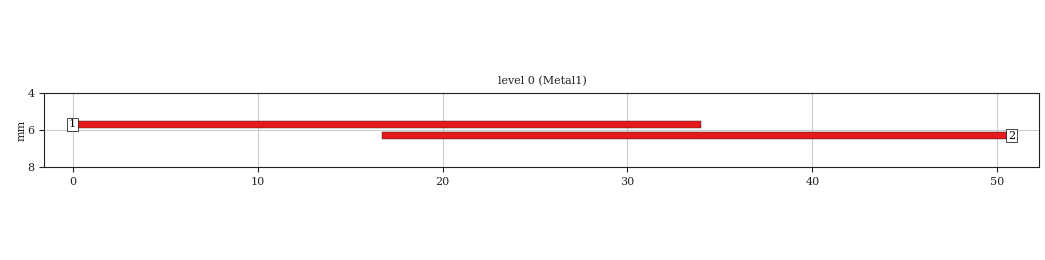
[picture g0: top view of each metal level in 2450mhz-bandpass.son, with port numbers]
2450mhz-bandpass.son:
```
FTYP SONPROJ 17 ! Sonnet Project File
VER 17.52.2
HEADER
LIC antikernel2.1.48685 90e2ba8817c0 havequick azonenberg
DAT 04/01/2020 00:23:55
BUILT_BY_CREATED xgeom 16.56 07/03/2018 15:05:41
BUILT_BY_SAVED sonnet 17.52.2
MDATE 04/01/2020 00:22:44
HDATE 04/01/2020 00:22:44
END HEADER
DIM
ANG DEG
CAP PF
CON /OH
FREQ GHZ
IND NH
LNG MM
RES OH
END DIM
CONTROL
VARSWP
OPTIONS  -dj
SPEED 1
CACHE_ABS 1
Q_ACC N
END CONTROL
GEO
TMET "Free Space" 0 FREESPACE 376.7303136 0 0 0
BMET "Copper 0.5oz" 2 NOR 58000000 0.5 0.017 
MET "Copper 1oz" 1 NOR 58000000 0.5 0.035 
BRI "Arlon AD450" 0 4.5 0.0035 0 
BRI "Arlon AD600" 0 6.15 0.003 0 
BRI "Arlon AD1000" 0 10.2 0.0023 0 
BRI "Arlon AR1000" 0 9.8 0.003 0 
BRI "Arlon CLTE" 0 2.96 0.0023 0 
BRI "Arlon CLTE-AT" 0 3 0.0013 0 
BRI "Arlon CLTE-P" 0 2.94 0.0025 0 
BRI "Arlon CLTE-XT" 0 2.94 0.0012 0 
BRI "Arlon Cu 217LX" 0 2.17 0.0009 0 
BRI "Arlon Cu 233LX" 0 2.33 0.0013 0 
BRI "Arlon Cu 250GT" 0 2.5 0.001 0 
BRI "Arlon Cu 250GX" 0 2.5 0.0018 0 
BRI "Arlon Cu 6250" 0 2.32 0.0013 0 
BRI "Arlon Cu 6700" 0 2.35 0.0025 0 
BRI "Arlon Di 522" 0 2.5 0.001 0 
BRI "Arlon Di 527" 0 2.5 0.0018 0 
BRI "Arlon Di 870" 0 2.33 0.0013 0 
BRI "Arlon Di 880" 0 2.17 0.0009 0 
BRI "Arlon Iso 917" 0 2.17 0.0013 0 
BRI "Arlon Iso 933" 0 2.33 0.0016 0 
BRI "Arlon Multi HF" 0 3.7 0.004 0 
BRI "Arlon TC350" 0 3.5 0.002 0 
BRI "Arlon TC600" 0 6.15 0.002 0 
BRI "Beryllia (99.5%)" 0 6.5 0.0004 0 
BRI "CEM-1" 0 4.5 0.02 0 
BRI "CEM-3" 0 4.5 0.02 0 
BRI "Dupont 9K7" 0 7.1 0.0012 0 
BRI "Dupont 943" 0 7.4 0.002 0 
BRI "Dupont 951" 0 7.8 0.006 0 
BRI "Dupont FEP" 0 2 0.0005 0 
BRI "Dupont Vacrel" 0 3.8 0.011 0 
BRI "ESL 41010" 0 7.5 0.005 0 
BRI "ESL 41020" 0 7.25 0.005 0 
BRI "ESL 41050" 0 13.5 0.002 0 
BRI "ESL 41060" 0 16.5 0.002 0 
BRI "ESL 41110" 0 4.5 0.004 0 
BRI "Ferro A6M" 0 5.9 0.002 0 
BRI "Ferro A6S" 0 5.9 0.002 0 
BRI "Ferro L8" 0 7.3 0.0018 0 
BRI "FR-4" 0 4.4 0.02 0 
BRI "G-10" 0 4.8 0.025 0 
BRI "Gallium Arsenide" 0 12.9 0.006 0 
BRI "Gallium Nitride" 0 9.7 0 0 
BRI "Glass (Pyrex)" 0 4.82 0.0054 0 
BRI "Heraeus HL2000" 0 7.3 0.0026 0 
BRI "Isola 370HR" 0 4.04 0.021 0 
BRI "Isola FR408" 0 3.77 0.0116 0 
BRI "Isola FR408HR" 0 3.68 0.0092 0 
BRI "Isola Getek" 0 3.6 0.01 0 
BRI "Isola GI-180" 0 3.7 0.013 0 
BRI "Isola IS415" 0 3.82 0.0125 0 
BRI "Isola IS620i" 0 3.58 0.006 0 
BRI "Isola IS680-280" 0 2.8 0.0025 0 
BRI "Isola IS680-300" 0 3 0.003 0 
BRI "Isola IS680-320" 0 3.2 0.003 0 
BRI "Isola IS680-333" 0 3.33 0.003 0 
BRI "Isola IS680-338" 0 3.38 0.0032 0 
BRI "Isola IS680-345" 0 3.45 0.0036 0 
BRI "Kerafol CT800" 0 5.3 0.008 0 
BRI "Nelco MW9350" 0 3.7 0.004 0 
BRI "Nelco N4000-12" 0 3.7 0.008 0 
BRI "Nelco N4000-13" 0 3.7 0.009 0 
BRI "Nelco N4000-13SI" 0 3.2 0.007 0 
BRI "Nelco N4000-13EP" 0 3.7 0.008 0 
BRI "Nelco N4350-13RF" 0 3.5 0.0065 0 
BRI "Nelco N4380-13RF" 0 3.8 0.007 0 
BRI "Nelco N9300-13RF" 0 3 0.004 0 
BRI "Nelco N9320-13RF" 0 3.2 0.0045 0 
BRI "Nelco N9338-13RF" 0 3.38 0.0046 0 
BRI "Nelco N9350-13RF" 0 3.48 0.0055 0 
BRI "Nelco NH9294" 0 2.94 0.0022 0 
BRI "Nelco NH9300" 0 3 0.0023 0 
BRI "Nelco NH9320" 0 3.2 0.0024 0 
BRI "Nelco NH9338" 0 3.38 0.0025 0 
BRI "Nelco NH9348" 0 3.48 0.003 0 
BRI "Nelco NH9350" 0 3.5 0.003 0 
BRI "Nelco NH9410" 0 4.1 0.003 0 
BRI "Nelco NH9450" 0 4.5 0.003 0 
BRI "Nelco NX9240" 0 2.4 0.0016 0 
BRI "Nelco NX9245" 0 2.45 0.0016 0 
BRI "Nelco NX9250" 0 2.5 0.0017 0 
BRI "Nelco NX9255" 0 2.55 0.0018 0 
BRI "Nelco NX9260" 0 2.6 0.0019 0 
BRI "Nelco NY9208" 0 2.08 0.0006 0 
BRI "Nelco NY9217" 0 2.17 0.0008 0 
BRI "Nelco NY9220" 0 2.2 0.0009 0 
BRI "Nelco NY9233" 0 2.33 0.0011 0 
BRI "PET" 0 3.37 0.0208 0 
BRI "Polyimide" 0 3.5 0.003 0 
BRI "Quartz (Fused)" 0 3.78 0.0001 0 
BRI "Rogers 3001" 0 2.28 0.003 0 
BRI "Rogers RO2808" 0 7.6 0.0015 0 
BRI "Rogers RO3003" 0 3 0.0013 0 
BRI "Rogers RO3006" 0 6.5 0.002 0 
BRI "Rogers RO3010" 0 11.2 0.0022 0 
BRI "Rogers RO3035" 0 3.6 0.0018 0 
BRI "Rogers RO3203" 0 3.02 0.0016 0 
BRI "Rogers RO3206" 0 6.6 0.0027 0 
BRI "Rogers RO3210" 0 10.8 0.0027 0 
BRI "Rogers RO3730" 0 3 0.0016 0 
BRI "Rogers RO4003C" 0 3.55 0.0029 0 
BRI "Rogers RO4533" 0 3.45 0.0029 0 
BRI "Rogers RO4534" 0 3.4 0.003 0 
BRI "Rogers RO4350B" 0 3.66 0.0037 0 
BRI "Rogers RO4350BTX" 0 3.66 0.0034 0 
BRI "Rogers RO4360" 0 6.15 0.0038 0 
BRI "Rogers RO4450B-3.6" 0 3.3 0.0043 0 
BRI "Rogers RO4450B-4" 0 3.54 0.004 0 
BRI "Rogers RO4450F" 0 3.52 0.0041 0 
BRI "Rogers RO4730" 0 3 0.0033 0 
BRI "Rogers RT5870" 0 2.33 0.0012 0 
BRI "Rogers RT5880" 0 2.2 0.0009 0 
BRI "Rogers RT5880LZ" 0 1.96 0.0019 0 
BRI "Rogers RT6002" 0 2.94 0.0012 0 
BRI "Rogers RT6006" 0 6.15 0.0027 0 
BRI "Rogers RT6010LM" 0 10.9 0.0023 0 
BRI "Rogers RT6035HTC" 0 3.6 0.0013 0 
BRI "Rogers RT6202" 0 2.94 0.0015 0 
BRI "Rogers RT6202PR" 0 2.95 0.0015 0 
BRI "Rogers Syron7000" 0 3.4 0.0045 0 
BRI "Rogers Syron7100-2" 0 3.61 0.006 0 
BRI "Rogers Syron7100-4" 0 3.39 0.005 0 
BRI "Rogers Theta" 0 4.01 0.0118 0 
BRI "Rogers TMM 3" 0 3.39 0.002 0 
BRI "Rogers TMM 4" 0 4.5 0.002 0 
BRI "Rogers TMM 6" 0 6 0.0023 0 
BRI "Rogers TMM 10" 0 9.56 0.0022 0 
BRI "Rogers TMM 10i" 0 9.96 0.002 0 
BRI "Rogers UL2000" 0 2.5 0.0019 0 
BRI "Rogers UL3850" 0 3.05 0.0025 0 
BRI "Rogers UL3908" 0 2.9 0.0025 0 
BRI "Rogers XT8000" 0 3.34 0.0035 0 
BRI "Rogers XT8100-2" 0 3.54 0.0049 0 
BRI "Rogers XT8100-4" 0 3.32 0.0038 0 
BRI "Silicon (intrinsic)" 0 11.9 0.004 0.00044 
BRI "Silicon Dioxide" 0 3.9 0 0 
BRI "Silicon Nitride" 0 7.5 0 0 
BRI "Taconic CER-10" 0 10 0.0035 0 
BRI "Taconic FastFilm" 0 2.7 0.0012 0 
BRI "Taconic Fastrise-DS" 0 2.96 0.0018 0 
BRI "Taconic Fastrise27" 0 2.7 0.0014 0 
BRI "Taconic Fastrise77" 0 7.7 0.0034 0 
BRI "Taconic FEP" 0 2 0.0003 0 
BRI "Taconic RF-30" 0 3 0.0014 0 
BRI "Taconic RF-35" 0 3.5 0.0018 0 
BRI "Taconic RF-35A2" 0 3.5 0.0011 0 
BRI "Taconic RF-35P" 0 3.5 0.0025 0 
BRI "Taconic RF-41" 0 4.1 0.0038 0 
BRI "Taconic RF-43" 0 4.3 0.0033 0 
BRI "Taconic RF-45" 0 4.5 0.0037 0 
BRI "Taconic RF-60A" 0 6.15 0.0038 0 
BRI "Taconic RF-301" 0 2.97 0.0012 0 
BRI "Taconic TacBond HT" 0 2.35 0.0025 0 
BRI "Taconic TLA-6" 0 2.62 0.0012 0 
BRI "Taconic TLC-27" 0 2.75 0.003 0 
BRI "Taconic TLC-30" 0 3 0.003 0 
BRI "Taconic TLC-32" 0 3.2 0.003 0 
BRI "Taconic TLE-95" 0 2.95 0.0028 0 
BRI "Taconic TLF-34" 0 3.4 0.002 0 
BRI "Taconic TLF-35" 0 3.5 0.002 0 
BRI "Taconic TLP-3" 0 2.33 0.0009 0 
BRI "Taconic TLP-5" 0 2.2 0.0009 0 
BRI "Taconic TLP-5A" 0 2.17 0.0009 0 
BRI "Taconic TLT-0" 0 2.45 0.0006 0 
BRI "Taconic TLT-9" 0 2.5 0.0006 0 
BRI "Taconic TLT-8" 0 2.55 0.0006 0 
BRI "Taconic TLT-7" 0 2.6 0.0006 0 
BRI "Taconic TLT-6" 0 2.65 0.0006 0 
BRI "Taconic TLX-0" 0 2.45 0.0019 0 
BRI "Taconic TLX-9" 0 2.5 0.0019 0 
BRI "Taconic TLX-8" 0 2.55 0.0019 0 
BRI "Taconic TLX-7" 0 2.6 0.0019 0 
BRI "Taconic TLX-6" 0 2.65 0.0019 0 
BRI "Taconic TLY-3" 0 2.33 0.0009 0 
BRI "Taconic TLY-3F" 0 2.33 0.0009 0 
BRI "Taconic TLY-5" 0 2.2 0.0009 0 
BRI "Taconic TLY-5-L" 0 2.2 0.0009 0 
BRI "Taconic TLY-5A" 0 2.17 0.0009 0 
BRI "Taconic TLY-5A-L" 0 2.17 0.0009 0 
BRI "Taconic TPG-30" 0 3 0.0038 0 
BRI "Taconic TPG-32" 0 3.2 0.005 0 
BRI "Taconic TPG-35" 0 3.5 0.005 0 
BRI "Taconic TRF-41" 0 4.1 0.0035 0 
BRI "Taconic TRF-43" 0 4.3 0.0035 0 
BRI "Taconic TRF-45" 0 4.5 0.0035 0 
BRI "Taconic TSM-DS" 0 2.85 0.001 0 
BRI "Taconic TSM-DS3" 0 3 0.0011 0 
BRI "Taconic TSM-26" 0 2.6 0.0014 0 
BRI "Taconic TSM-29" 0 2.94 0.0013 0 
BRI "Taconic TSM-30" 0 3 0.0013 0 
BRI "Teflon (PTFE)" 0 2.08 0.0004 0 
BRI "Alumina (96%)" 0 9.4 0.0004 0 
BRI "Alumina (99.5%)" 0 9.9 0.0001 0 
BRI "Aluminum Nitride" 0 8.6 0.0003 0 
BRI "Arlon 25FR" 0 3.58 0.0035 0 
BRI "Arlon 25N" 0 3.38 0.0025 0 
BRI "Arlon AD5" 0 5.1 0.003 0 
BRI "Arlon AD10" 0 10.2 0.005 0 
BRI "Arlon AD250" 0 2.5 0.0018 0 
BRI "Arlon AD255A" 0 2.55 0.0015 0 
BRI "Arlon AD260A" 0 2.6 0.0018 0 
BRI "Arlon AD270" 0 2.7 0.0023 0 
BRI "Arlon AD300A" 0 3 0.002 0 
BRI "Arlon AD320A" 0 3.2 0.0032 0 
BRI "Arlon AD350A" 0 3.5 0.003 0 
BRI "Arlon AD410" 0 4.1 0.003 0 
BRI "Arlon AD430" 0 4.3 0.003 0 
BRI "Arlon AD450" 0 4.5 0.0035 0 
BRI "Arlon AD600" 0 6.15 0.003 0 
BRI "Arlon AD1000" 0 10.2 0.0023 0 
BRI "Arlon AR1000" 0 9.8 0.003 0 
BRI "Arlon CLTE" 0 2.96 0.0023 0 
BRI "Arlon CLTE-AT" 0 3 0.0013 0 
BRI "Arlon CLTE-P" 0 2.94 0.0025 0 
BRI "Arlon CLTE-XT" 0 2.94 0.0012 0 
BRI "Arlon Cu 217LX" 0 2.17 0.0009 0 
BRI "Arlon Cu 233LX" 0 2.33 0.0013 0 
BRI "Arlon Cu 250GT" 0 2.5 0.001 0 
BRI "Arlon Cu 250GX" 0 2.5 0.0018 0 
BRI "Arlon Cu 6250" 0 2.32 0.0013 0 
BRI "Arlon Cu 6700" 0 2.35 0.0025 0 
BRI "Arlon Di 522" 0 2.5 0.001 0 
BRI "Arlon Di 527" 0 2.5 0.0018 0 
BRI "Arlon Di 870" 0 2.33 0.0013 0 
BRI "Arlon Di 880" 0 2.17 0.0009 0 
BRI "Arlon Iso 917" 0 2.17 0.0013 0 
BRI "Arlon Iso 933" 0 2.33 0.0016 0 
BRI "Arlon Multi HF" 0 3.7 0.004 0 
BRI "Arlon TC350" 0 3.5 0.002 0 
BRI "Arlon TC600" 0 6.15 0.002 0 
BRI "Beryllia (99.5%)" 0 6.5 0.0004 0 
BRI "CEM-1" 0 4.5 0.02 0 
BRI "CEM-3" 0 4.5 0.02 0 
BRI "Dupont 9K7" 0 7.1 0.0012 0 
BRI "Dupont 943" 0 7.4 0.002 0 
BRI "Dupont 951" 0 7.8 0.006 0 
BRI "Dupont FEP" 0 2 0.0005 0 
BRI "Dupont Vacrel" 0 3.8 0.011 0 
BRI "ESL 41010" 0 7.5 0.005 0 
BRI "ESL 41020" 0 7.25 0.005 0 
BRI "ESL 41050" 0 13.5 0.002 0 
BRI "ESL 41060" 0 16.5 0.002 0 
BRI "ESL 41110" 0 4.5 0.004 0 
BRI "Ferro A6M" 0 5.9 0.002 0 
BRI "Ferro A6S" 0 5.9 0.002 0 
BRI "Ferro L8" 0 7.3 0.0018 0 
BRI "FR-4" 0 4.4 0.02 0 
BRI "G-10" 0 4.8 0.025 0 
BRI "Gallium Arsenide" 0 12.9 0.006 0 
BRI "Gallium Nitride" 0 9.7 0 0 
BRI "Glass (Pyrex)" 0 4.82 0.0054 0 
BRI "Heraeus HL2000" 0 7.3 0.0026 0 
BRI "Isola 370HR" 0 4.04 0.021 0 
BRI "Isola FR408" 0 3.77 0.0116 0 
BRI "Isola FR408HR" 0 3.68 0.0092 0 
BRI "Isola Getek" 0 3.6 0.01 0 
BRI "Isola GI-180" 0 3.7 0.013 0 
BRI "Isola IS415" 0 3.82 0.0125 0 
BRI "Isola IS620i" 0 3.58 0.006 0 
BRI "Isola IS680-280" 0 2.8 0.0025 0 
BRI "Isola IS680-300" 0 3 0.003 0 
BRI "Isola IS680-320" 0 3.2 0.003 0 
BRI "Isola IS680-333" 0 3.33 0.003 0 
BRI "Isola IS680-338" 0 3.38 0.0032 0 
BRI "Isola IS680-345" 0 3.45 0.0036 0 
BRI "Kerafol CT800" 0 5.3 0.008 0 
BRI "Nelco MW9350" 0 3.7 0.004 0 
BRI "Nelco N4000-12" 0 3.7 0.008 0 
BRI "Nelco N4000-13" 0 3.7 0.009 0 
BRI "Nelco N4000-13SI" 0 3.2 0.007 0 
BRI "Nelco N4000-13EP" 0 3.7 0.008 0 
BRI "Nelco N4350-13RF" 0 3.5 0.0065 0 
BRI "Nelco N4380-13RF" 0 3.8 0.007 0 
BRI "Nelco N9300-13RF" 0 3 0.004 0 
BRI "Nelco N9320-13RF" 0 3.2 0.0045 0 
BRI "Nelco N9338-13RF" 0 3.38 0.0046 0 
BRI "Nelco N9350-13RF" 0 3.48 0.0055 0 
BRI "Nelco NH9294" 0 2.94 0.0022 0 
BRI "Nelco NH9300" 0 3 0.0023 0 
BRI "Nelco NH9320" 0 3.2 0.0024 0 
BRI "Nelco NH9338" 0 3.38 0.0025 0 
BRI "Nelco NH9348" 0 3.48 0.003 0 
BRI "Nelco NH9350" 0 3.5 0.003 0 
BRI "Nelco NH9410" 0 4.1 0.003 0 
BRI "Nelco NH9450" 0 4.5 0.003 0 
BRI "Nelco NX9240" 0 2.4 0.0016 0 
BRI "Nelco NX9245" 0 2.45 0.0016 0 
BRI "Nelco NX9250" 0 2.5 0.0017 0 
BRI "Nelco NX9255" 0 2.55 0.0018 0 
BRI "Nelco NX9260" 0 2.6 0.0019 0 
BRI "Nelco NY9208" 0 2.08 0.0006 0 
BRI "Nelco NY9217" 0 2.17 0.0008 0 
BRI "Nelco NY9220" 0 2.2 0.0009 0 
BRI "Nelco NY9233" 0 2.33 0.0011 0 
BRI "PET" 0 3.37 0.0208 0 
BRI "Polyimide" 0 3.5 0.003 0 
BRI "Quartz (Fused)" 0 3.78 0.0001 0 
BRI "Rogers 3001" 0 2.28 0.003 0 
BRI "Rogers RO2808" 0 7.6 0.0015 0 
BRI "Rogers RO3003" 0 3 0.0013 0 
BRI "Rogers RO3006" 0 6.5 0.002 0 
BRI "Rogers RO3010" 0 11.2 0.0022 0 
BRI "Rogers RO3035" 0 3.6 0.0018 0 
BRI "Rogers RO3203" 0 3.02 0.0016 0 
BRI "Rogers RO3206" 0 6.6 0.0027 0 
BRI "Rogers RO3210" 0 10.8 0.0027 0 
BRI "Rogers RO3730" 0 3 0.0016 0 
BRI "Rogers RO4003C" 0 3.55 0.0029 0 
BRI "Rogers RO4533" 0 3.45 0.0029 0 
BRI "Rogers RO4534" 0 3.4 0.003 0 
BRI "Rogers RO4350B" 0 3.66 0.0037 0 
BRI "Rogers RO4350BTX" 0 3.66 0.0034 0 
BRI "Rogers RO4360" 0 6.15 0.0038 0 
BRI "Rogers RO4450B-3.6" 0 3.3 0.0043 0 
BRI "Rogers RO4450B-4" 0 3.54 0.004 0 
BRI "Rogers RO4450F" 0 3.52 0.0041 0 
BRI "Rogers RO4730" 0 3 0.0033 0 
BRI "Rogers RT5870" 0 2.33 0.0012 0 
BRI "Rogers RT5880" 0 2.2 0.0009 0 
BRI "Rogers RT5880LZ" 0 1.96 0.0019 0 
BRI "Rogers RT6002" 0 2.94 0.0012 0 
BRI "Rogers RT6006" 0 6.15 0.0027 0 
BRI "Rogers RT6010LM" 0 10.9 0.0023 0 
BRI "Rogers RT6035HTC" 0 3.6 0.0013 0 
BRI "Rogers RT6202" 0 2.94 0.0015 0 
BRI "Rogers RT6202PR" 0 2.95 0.0015 0 
BRI "Rogers Syron7000" 0 3.4 0.0045 0 
BRI "Rogers Syron7100-2" 0 3.61 0.006 0 
BRI "Rogers Syron7100-4" 0 3.39 0.005 0 
BRI "Rogers Theta" 0 4.01 0.0118 0 
BRI "Rogers TMM 3" 0 3.39 0.002 0 
BRI "Rogers TMM 4" 0 4.5 0.002 0 
BRI "Rogers TMM 6" 0 6 0.0023 0 
BRI "Rogers TMM 10" 0 9.56 0.0022 0 
BRI "Rogers TMM 10i" 0 9.96 0.002 0 
BRI "Rogers UL2000" 0 2.5 0.0019 0 
BRI "Rogers UL3850" 0 3.05 0.0025 0 
BRI "Rogers UL3908" 0 2.9 0.0025 0 
BRI "Rogers XT8000" 0 3.34 0.0035 0 
BRI "Rogers XT8100-2" 0 3.54 0.0049 0 
BRI "Rogers XT8100-4" 0 3.32 0.0038 0 
BRI "Silicon (intrinsic)" 0 11.9 0.004 0.00044 
BRI "Silicon Dioxide" 0 3.9 0 0 
BRI "Silicon Nitride" 0 7.5 0 0 
BRI "Taconic CER-10" 0 10 0.0035 0 
BRI "Taconic FastFilm" 0 2.7 0.0012 0 
BRI "Taconic Fastrise-DS" 0 2.96 0.0018 0 
BRI "Taconic Fastrise27" 0 2.7 0.0014 0 
BRI "Taconic Fastrise77" 0 7.7 0.0034 0 
BRI "Taconic FEP" 0 2 0.0003 0 
BRI "Taconic RF-30" 0 3 0.0014 0 
BRI "Taconic RF-35" 0 3.5 0.0018 0 
BRI "Taconic RF-35A2" 0 3.5 0.0011 0 
BRI "Taconic RF-35P" 0 3.5 0.0025 0 
BRI "Taconic RF-41" 0 4.1 0.0038 0 
BRI "Taconic RF-43" 0 4.3 0.0033 0 
BRI "Taconic RF-45" 0 4.5 0.0037 0 
BRI "Taconic RF-60A" 0 6.15 0.0038 0 
BRI "Taconic RF-301" 0 2.97 0.0012 0 
BRI "Taconic TacBond HT" 0 2.35 0.0025 0 
BRI "Taconic TLA-6" 0 2.62 0.0012 0 
BRI "Taconic TLC-27" 0 2.75 0.003 0 
BRI "Taconic TLC-30" 0 3 0.003 0 
BRI "Taconic TLC-32" 0 3.2 0.003 0 
BRI "Taconic TLE-95" 0 2.95 0.0028 0 
BRI "Taconic TLF-34" 0 3.4 0.002 0 
BRI "Taconic TLF-35" 0 3.5 0.002 0 
BRI "Taconic TLP-3" 0 2.33 0.0009 0 
BRI "Taconic TLP-5" 0 2.2 0.0009 0 
BRI "Taconic TLP-5A" 0 2.17 0.0009 0 
BRI "Taconic TLT-0" 0 2.45 0.0006 0 
BRI "Taconic TLT-9" 0 2.5 0.0006 0 
BRI "Taconic TLT-8" 0 2.55 0.0006 0 
BRI "Taconic TLT-7" 0 2.6 0.0006 0 
BRI "Taconic TLT-6" 0 2.65 0.0006 0 
BRI "Taconic TLX-0" 0 2.45 0.0019 0 
BRI "Taconic TLX-9" 0 2.5 0.0019 0 
BRI "Taconic TLX-8" 0 2.55 0.0019 0 
BRI "Taconic TLX-7" 0 2.6 0.0019 0 
BRI "Taconic TLX-6" 0 2.65 0.0019 0 
BRI "Taconic TLY-3" 0 2.33 0.0009 0 
BRI "Taconic TLY-3F" 0 2.33 0.0009 0 
BRI "Taconic TLY-5" 0 2.2 0.0009 0 
BRI "Taconic TLY-5-L" 0 2.2 0.0009 0 
BRI "Taconic TLY-5A" 0 2.17 0.0009 0 
BRI "Taconic TLY-5A-L" 0 2.17 0.0009 0 
BRI "Taconic TPG-30" 0 3 0.0038 0 
BRI "Taconic TPG-32" 0 3.2 0.005 0 
BRI "Taconic TPG-35" 0 3.5 0.005 0 
BRI "Taconic TRF-41" 0 4.1 0.0035 0 
BRI "Taconic TRF-43" 0 4.3 0.0035 0 
BRI "Taconic TRF-45" 0 4.5 0.0035 0 
BRI "Taconic TSM-DS" 0 2.85 0.001 0 
BRI "Taconic TSM-DS3" 0 3 0.0011 0 
BRI "Taconic TSM-26" 0 2.6 0.0014 0 
BRI "Taconic TSM-29" 0 2.94 0.0013 0 
BRI "Taconic TSM-30" 0 3 0.0013 0 
BRI "Teflon (PTFE)" 0 2.08 0.0004 0 
BOX 1 50.75 25 406 500 20 0
      1 1 1 0 0 0 0 "Air"
      0.19 3.33 1 0.0116 0 0 0 "Isola FR408"
TECHLAY METAL Metal1 <UNSPECIFIED> -2 0 
0 0 0 N 0 1 1 100 100 0 0 0 Y
END
END
VALVAR WIDTH LNG 0.4 "Dim. Param."
VALVAR SPACING LNG 0.2 "Dim. Param."
LORGN 0 250 U 
POR1 BOX
POLY 32497 1
3
1 50 0 0 0 0 5.7 
POR1 BOX
POLY 32500 1
1
2 50 0 0 0 50.75 6.3 
NUM 2
0 5 0 N 32497 1 1 100 100 0 0 0 Y
TLAYNAM Metal1 INH
0 5.5
34 5.5
34 5.9
0 5.9
0 5.5
END
0 5 0 N 32500 1 1 100 100 0 0 0 Y
TLAYNAM Metal1 INH
16.75 6.1
50.75 6.1
50.75 6.5
16.75 6.5
16.75 6.1
END
END GEO
OPT
MAX 100
END OPT
VARSWP
SWPVARS ON
ENABLED Y
FREQ Y AY ABS_ENTRY 0.1 6.0 -1 300 
VAR WIDTH Y 0.3 0.5 0.1
VAR SPACING Y 0.1 0.4 0.1
END
END VARSWP
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```
